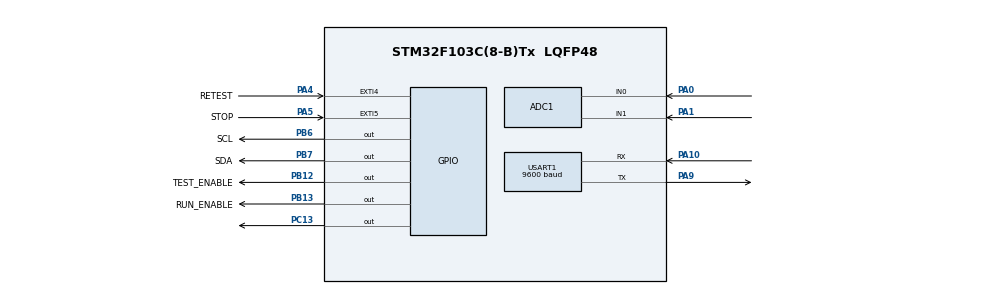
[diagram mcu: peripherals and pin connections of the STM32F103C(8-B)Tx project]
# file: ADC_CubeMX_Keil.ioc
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ADC1.Channel-0\#ChannelRegularConversion=ADC_CHANNEL_0
ADC1.ContinuousConvMode=DISABLE
ADC1.NbrOfConversion=1
ADC1.NbrOfConversionFlag=1
ADC1.Rank-0\#ChannelRegularConversion=1
ADC1.SamplingTime-0\#ChannelRegularConversion=ADC_SAMPLETIME_239CYCLES_5
ADC1.master=1
Mcu.Family=STM32F1
Mcu.Name=STM32F103C(8-B)Tx
Mcu.Package=LQFP48
NVIC.EXTI4_IRQn=true\:1\:0\:true\:false\:true\:true\:true\:true
NVIC.EXTI9_5_IRQn=true\:0\:0\:true\:false\:true\:true\:true\:true
NVIC.PriorityGroup=NVIC_PRIORITYGROUP_4
PA0-WKUP.Signal=SharedAnalog_PA0
PA1.GPIO_Mode=GPIO_MODE_ANALOG
PA1.Signal=SharedAnalog_PA1
PA10.Mode=Asynchronous
PA10.Signal=USART1_RX
PA4.GPIO_Label=RETEST
PA4.GPIO_ModeDefaultEXTI=GPIO_MODE_IT_FALLING
PA4.GPIO_PuPd=GPIO_PULLUP
PA4.Signal=GPXTI4
PA5.GPIO_Label=STOP
PA5.GPIO_ModeDefaultEXTI=GPIO_MODE_IT_FALLING
PA5.GPIO_PuPd=GPIO_PULLUP
PA5.Signal=GPXTI5
PA9.Mode=Asynchronous
PA9.Signal=USART1_TX
PB12.GPIO_Label=TEST_ENABLE
PB12.GPIO_ModeDefaultOutputPP=GPIO_MODE_OUTPUT_PP
PB12.GPIO_PuPd=GPIO_NOPULL
PB12.GPIO_Speed=GPIO_SPEED_FREQ_LOW
PB12.PinState=GPIO_PIN_RESET
PB12.Signal=GPIO_Output
PB13.GPIO_Label=RUN_ENABLE
PB13.GPIO_ModeDefaultOutputPP=GPIO_MODE_OUTPUT_PP
PB13.GPIO_PuPd=GPIO_NOPULL
PB13.GPIO_Speed=GPIO_SPEED_FREQ_LOW
PB13.PinState=GPIO_PIN_RESET
PB13.Signal=GPIO_Output
PB6.GPIO_Label=SCL
PB6.GPIO_ModeDefaultOutputPP=GPIO_MODE_OUTPUT_OD
PB6.GPIO_PuPd=GPIO_PULLUP
PB6.GPIO_Speed=GPIO_SPEED_FREQ_HIGH
PB6.PinState=GPIO_PIN_SET
PB6.Signal=GPIO_Output
PB7.GPIO_Label=SDA
PB7.GPIO_ModeDefaultOutputPP=GPIO_MODE_OUTPUT_OD
PB7.GPIO_PuPd=GPIO_PULLUP
PB7.GPIO_Speed=GPIO_SPEED_FREQ_HIGH
PB7.PinState=GPIO_PIN_SET
PB7.Signal=GPIO_Output
PC13-TAMPER-RTC.PinState=GPIO_PIN_SET
PC13-TAMPER-RTC.Signal=GPIO_Output
PC14-OSC32_IN.Mode=LSE-External-Oscillator
PC14-OSC32_IN.Signal=RCC_OSC32_IN
PC15-OSC32_OUT.Mode=LSE-External-Oscillator
PC15-OSC32_OUT.Signal=RCC_OSC32_OUT
PD0-OSC_IN.Mode=HSE-External-Oscillator
PD0-OSC_IN.Signal=RCC_OSC_IN
PD1-OSC_OUT.Mode=HSE-External-Oscillator
PD1-OSC_OUT.Signal=RCC_OSC_OUT
ProjectManager.HeapSize=0x200
ProjectManager.StackSize=0x400
ProjectManager.TargetToolchain=MDK-ARM V5.32
RCC.APB1Freq_Value=8000000
RCC.APB1TimFreq_Value=8000000
RCC.APB2Freq_Value=8000000
SH.SharedAnalog_PA0.0=GPIO_Analog
SH.SharedAnalog_PA0.1=ADC1_IN0,IN0
SH.SharedAnalog_PA1.0=GPIO_Analog
SH.SharedAnalog_PA1.1=ADC1_IN1,IN1
USART1.BaudRate=9600
USART1.VirtualMode=VM_ASYNC
VP_SYS_VS_ND.Mode=No_Debug
board=custom

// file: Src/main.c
/* USER CODE BEGIN Header */
/**
  ******************************************************************************
  * @file           : main.c
  * @brief          : Main program body
  ******************************************************************************
  * @attention
  *
  * Copyright (c) 2026 STMicroelectronics.
  * All rights reserved.
  *
  * This software is licensed under terms that can be found in the LICENSE file
  * in the root directory of this software component.
  * If no LICENSE file comes with this software, it is provided AS-IS.
  *
  ******************************************************************************
  */
/* USER CODE END Header */
#include "main.h"
#include "adc.h"
#include "usart.h"
#include "gpio.h"

/* USER CODE BEGIN Includes */
#include "div_config.h" /* 读取应用参数。 */
#include "div_power.h" /* 初始化和紧急断电接口。 */
#include "div_control.h" /* 按键和检测调度接口。 */
#include "div_display.h" /* OLED初始化和刷新接口。 */
#include "oled_display.h" /* 提供OLED_DISPLAY_ENABLE编译开关。 */
/* USER CODE END Includes */

void SystemClock_Config(void);

int main(void)
{

  /* MCU Configuration--------------------------------------------------------*/

  /* Reset of all peripherals, Initializes the Flash interface and the Systick. */
  HAL_Init();

  /* Configure the system clock */
  SystemClock_Config();

  /* Initialize all configured peripherals */
  MX_GPIO_Init();
  MX_USART1_UART_Init();
  MX_ADC1_Init();
  /* USER CODE BEGIN 2 */
DivPower_Initialize(); /* GPIO初始化后确保两路电源均关闭。 */
HAL_Delay(TERMINAL_STARTUP_WAIT_MILLISECONDS); /* 等待虚拟终端进入接收状态。 */
{
    const char startup[] = "FW=RETEST_SIMPLE_R7 OLED_MODE=TEXT4X16 ACK=UNCHECKED MODE=ON_DEMAND VREF_MV=3300 ADC_BITS=12 BAUD=115200\r\n"; /* 标记固件版本并保留原启动字段。 */
    if (HAL_UART_Transmit(&huart1, (uint8_t *)startup, sizeof(startup) - 1, UART_TIMEOUT_MILLISECONDS) != HAL_OK) /* 发送启动状态。 */
    {
        Error_Handler(); /* 串口启动失败时进入断电停机。 */
    }
}
if (HAL_ADCEx_Calibration_Start(&hadc1) != HAL_OK) /* 在测量前校准ADC。 */
{
    const char calibration_error[] = "STATE=UNKNOWN ERROR=ADC_CALIBRATION_FAILED RUN_POWER=OFF TEST_POWER=OFF\r\n"; /* 准备校准失败报告。 */
    HAL_UART_Transmit(&huart1, (uint8_t *)calibration_error, sizeof(calibration_error) - 1, UART_TIMEOUT_MILLISECONDS); /* 尽力输出校准故障。 */
    Error_Handler(); /* 校准失败时禁止继续检测。 */
}
DivControl_InitializeButtons(); /* 初始化RETEST外部中断事件状态。 */
DivControl_Trace("OLED_INIT_BEGIN"); /* 记录OLED初始化前的控制状态。 */
DivDisplay_Initialize(); /* 初始化现有OLED驱动并注册进度回调。 */
DivControl_Trace("OLED_INIT_END"); /* 记录OLED初始化函数已返回。 */
DivControl_RunInitialDetection(); /* R7：不再等待 detection_pending，上电直接执行首轮1V检测。 */
  /* USER CODE END 2 */

  /* Infinite loop */
  /* USER CODE BEGIN WHILE */
  while (1) /* 持续执行循环；错误处理中的空循环用于停机。 */
  {
    /* USER CODE END WHILE */

    /* USER CODE BEGIN 3 */
DivControl_Service(); /* 处理停止、复测及ADC检测调度。 */
#if OLED_DISPLAY_ENABLE /* OLED启用时刷新显示并输出状态。 */
DivDisplay_Service(); /* 刷新最近一次测量结果。 */
#if STATUS_TRACE_ENABLE
DivDisplay_ServiceStatus(); /* 可选心跳；默认关闭以降低 Proteus CPU/串口负载。 */
#endif
#endif /* 结束OLED服务条件编译。 */
HAL_Delay(CONTROL_POLL_MILLISECONDS); /* 控制轮询节拍；RETEST由EXTI4产生事件。 */
  }
  /* USER CODE END 3 */
}

void SystemClock_Config(void)
{
  RCC_OscInitTypeDef RCC_OscInitStruct = {0};
  RCC_ClkInitTypeDef RCC_ClkInitStruct = {0};
  RCC_PeriphCLKInitTypeDef PeriphClkInit = {0};

  /** Initializes the RCC Oscillators according to the specified parameters
  * in the RCC_OscInitTypeDef structure.
  */
  RCC_OscInitStruct.OscillatorType = RCC_OSCILLATORTYPE_HSI;
  RCC_OscInitStruct.HSIState = RCC_HSI_ON;
  RCC_OscInitStruct.HSICalibrationValue = RCC_HSICALIBRATION_DEFAULT;
  RCC_OscInitStruct.PLL.PLLState = RCC_PLL_NONE;
  if (HAL_RCC_OscConfig(&RCC_OscInitStruct) != HAL_OK)
  {
    Error_Handler();
  }

  /** Initializes the CPU, AHB and APB buses clocks
  */
  RCC_ClkInitStruct.ClockType = RCC_CLOCKTYPE_HCLK|RCC_CLOCKTYPE_SYSCLK
                              |RCC_CLOCKTYPE_PCLK1|RCC_CLOCKTYPE_PCLK2;
  RCC_ClkInitStruct.SYSCLKSource = RCC_SYSCLKSOURCE_HSI;
  RCC_ClkInitStruct.AHBCLKDivider = RCC_SYSCLK_DIV1;
  RCC_ClkInitStruct.APB1CLKDivider = RCC_HCLK_DIV1;
  RCC_ClkInitStruct.APB2CLKDivider = RCC_HCLK_DIV1;

  if (HAL_RCC_ClockConfig(&RCC_ClkInitStruct, FLASH_LATENCY_0) != HAL_OK)
  {
    Error_Handler();
  }
  PeriphClkInit.PeriphClockSelection = RCC_PERIPHCLK_ADC;
  PeriphClkInit.AdcClockSelection = RCC_ADCPCLK2_DIV2;
  if (HAL_RCCEx_PeriphCLKConfig(&PeriphClkInit) != HAL_OK)
  {
    Error_Handler();
  }
}

void Error_Handler(void)
{
  /* USER CODE BEGIN Error_Handler_Debug */
  /* User can add his own implementation to report the HAL error return state */
  DivEmergencyStop(); /* 在关闭中断和停机之前，先关闭被测电路的两路电源。 */
  __disable_irq(); /* 错误时关闭中断，保留失败现场供检查。 */
  while (1) /* 持续执行循环；错误处理中的空循环用于停机。 */
  {
  }
  /* USER CODE END Error_Handler_Debug */
}
